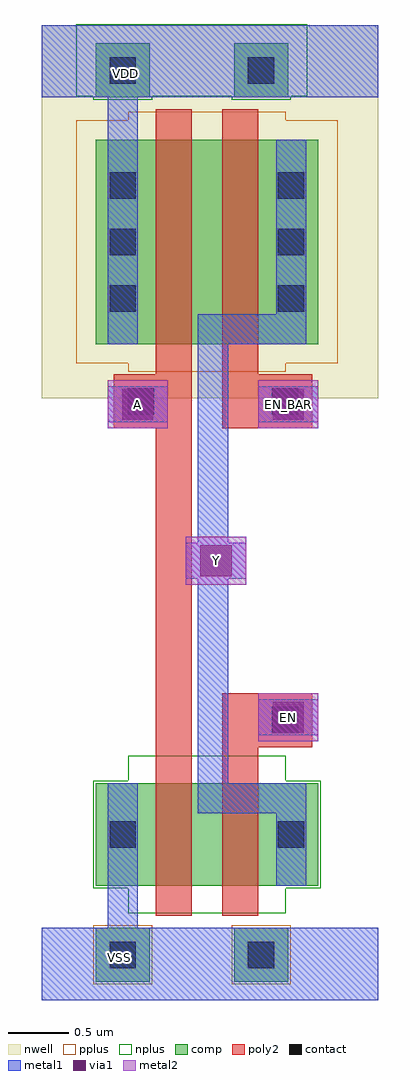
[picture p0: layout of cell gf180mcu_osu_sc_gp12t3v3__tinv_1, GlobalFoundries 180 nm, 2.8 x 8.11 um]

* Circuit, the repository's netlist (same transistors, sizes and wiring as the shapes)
* Copyright 2022 Google LLC
*
* Licensed under the Apache License, Version 2.0 (the "License");
* you may not use this file except in compliance with the License.
* You may obtain a copy of the License at
*
*      http://www.apache.org/licenses/LICENSE-2.0
*
* Unless required by applicable law or agreed to in writing, software
* distributed under the License is distributed on an "AS IS" BASIS,
* WITHOUT WARRANTIES OR CONDITIONS OF ANY KIND, either express or implied.
* See the License for the specific language governing permissions and
* limitations under the License.

.option scale=0.05u

.subckt gf180mcu_osu_sc_gp12t3v3__tinv_1 A Y EN EN_BAR
X0 Y EN a_25_19 VSS nmos_3p3 w=17 l=6
X1 Y EN_BAR a_25_109 VDD pmos_3p3 w=34 l=6
X2 a_25_109 A VDD VDD pmos_3p3 w=34 l=6
X3 a_25_19 A VSS VSS nmos_3p3 w=17 l=6
.ends

** hspice subcircuit dictionary

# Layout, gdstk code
import gdstk
lib = gdstk.Library(unit=1e-6, precision=1e-09)
def R(c, l, rs):  # rectangles x0, y0, x1, y1
    for r in rs: c.add(gdstk.rectangle(r[:2], r[2:], *l))
def A(c, l, x, y, w, h, nx, ny, dx, dy):  # array of equal rectangles
    R(c, l, [(x+i*dx, y+j*dy, x+i*dx+w, y+j*dy+h) for i in range(nx) for j in range(ny)])
nwell = (21, 0)
comp = (22, 0)
poly2 = (30, 0)
pplus = (31, 0)
nplus = (32, 0)
contact = (33, 0)
metal1 = (34, 0)
via1 = (35, 0)
metal2 = (36, 0)

gf180mcu_osu_sc_gp12t3v3 = lib.new_cell('gf180mcu_osu_sc_gp12t3v3__tinv_1')
R(gf180mcu_osu_sc_gp12t3v3, nwell, [(0,5,2.8,8.1)])
R(gf180mcu_osu_sc_gp12t3v3, comp, [(0.45,0.15,0.9,0.6), (1.6,0.15,2.05,0.6), (0.45,0.95,2.3,1.8), (0.45,5.45,2.3,7.15), (0.45,7.5,0.9,7.95), (1.6,7.5,2.05,7.95)])
R(gf180mcu_osu_sc_gp12t3v3, poly2, [(0.95,0.7,1.25,4.75), (1.5,0.7,1.8,2.1), (1.5,2.1,2.25,2.55), (0.6,4.75,1.25,5.2), (1.5,4.75,2.25,5.2), (0.95,5.2,1.25,7.4), (1.5,5.2,1.8,7.4)])
R(gf180mcu_osu_sc_gp12t3v3, pplus, [(0.43,0.13,0.92,0.62), (1.58,0.13,2.07,0.62), (0.72,5.22,2.03,5.29), (0.29,5.29,2.46,7.31), (0.72,7.31,2.03,7.38)])
R(gf180mcu_osu_sc_gp12t3v3, nplus, [(0.72,0.72,2.03,0.93), (0.43,0.93,2.32,1.82), (0.72,1.82,2.03,2.03), (0.43,7.48,0.92,7.51), (1.58,7.48,2.07,7.51), (0.29,7.51,2.21,8.11)])
A(gf180mcu_osu_sc_gp12t3v3, contact, 0.565, 5.72, 0.22, 0.22, 1, 3, 0, 0.47)
A(gf180mcu_osu_sc_gp12t3v3, contact, 1.965, 5.72, 0.22, 0.22, 1, 3, 0, 0.47)
R(gf180mcu_osu_sc_gp12t3v3, contact, [(0.565,0.265,0.785,0.485), (1.715,0.265,1.935,0.485), (0.565,1.265,0.785,1.485), (1.965,1.265,2.185,1.485), (1.915,2.215,2.135,2.435), (0.715,4.865,0.935,5.085), (1.915,4.865,2.135,5.085), (0.565,7.615,0.785,7.835), (1.715,7.615,1.935,7.835)])
R(gf180mcu_osu_sc_gp12t3v3, metal1, [(0,0,2.8,0.6), (0.55,0.6,0.8,1.8), (1.95,0.95,2.2,1.55), (1.3,1.55,2.2,1.8), (1.3,1.8,1.55,3.5), (1.8,2.2,2.3,2.5), (1.2,3.5,1.7,3.8), (1.3,3.8,1.55,5.45), (0.55,4.8,1.05,5.1), (1.8,4.8,2.3,5.1), (0.55,5.45,0.8,7.5), (1.3,5.45,2.2,5.7), (1.95,5.7,2.2,7.15), (0,7.5,2.8,8.1)])
R(gf180mcu_osu_sc_gp12t3v3, via1, [(1.92,2.22,2.18,2.48), (1.32,3.52,1.58,3.78), (0.67,4.82,0.93,5.08), (1.92,4.82,2.18,5.08)])
R(gf180mcu_osu_sc_gp12t3v3, metal2, [(1.8,2.15,2.3,2.55), (1.2,3.45,1.7,3.85), (0.55,4.75,1.05,5.15), (1.8,4.75,2.3,5.15)])
gf180mcu_osu_sc_gp12t3v3.add(gdstk.Label('VDD', (0.7,7.7), layer=34, texttype=0))
gf180mcu_osu_sc_gp12t3v3.add(gdstk.Label('VSS', (0.65,0.35), layer=34, texttype=0))
gf180mcu_osu_sc_gp12t3v3.add(gdstk.Label('A', (0.8,4.95), layer=36, texttype=10))
gf180mcu_osu_sc_gp12t3v3.add(gdstk.Label('Y', (1.45,3.65), layer=36, texttype=10))
gf180mcu_osu_sc_gp12t3v3.add(gdstk.Label('EN', (2.05,2.35), layer=36, texttype=10))
gf180mcu_osu_sc_gp12t3v3.add(gdstk.Label('EN_BAR', (2.05,4.95), layer=36, texttype=10))

lib.write_gds('gf180mcu_osu_sc_gp12t3v3__tinv_1.gds')
